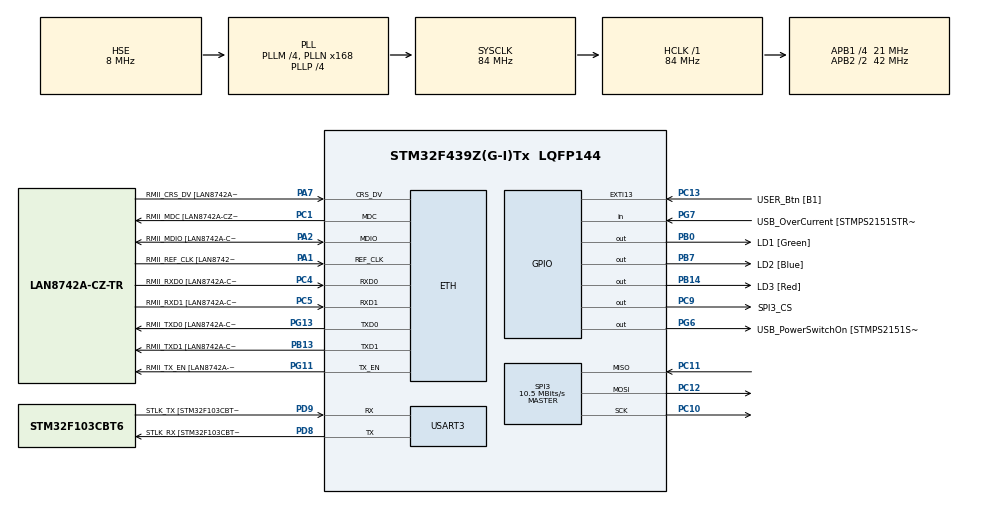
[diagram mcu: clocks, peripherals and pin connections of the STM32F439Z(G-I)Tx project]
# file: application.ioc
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ETH.MediaInterface=HAL_ETH_RMII_MODE
ETH.PHY_Name=LAN8742A_PHY_ADDRESS
ETH.PHY_Value=0
ETH.PhyAddress=0
FREERTOS.Tasks01=commTask,24,1024,startCommTask,Default,NULL,Dynamic,NULL,NULL;blueLedTask,8,128,startBlueLedTask,Default,NULL,Dynamic,NULL,NULL
LWIP.BSP.number=1
LWIP.GATEWAY_ADDRESS=192.168.000.001
LWIP.IP_ADDRESS=192.168.001.050
LWIP.LWIP_DHCP=0
LWIP.LWIP_TCP=0
LWIP.NETMASK_ADDRESS=255.255.255.000
LWIP.PBUF_POOL_BUFSIZE=1024
LWIP.TCP_WND=5120
LWIP.Version=v2.1.2_Cube
LWIP0.BSP.STBoard=false
LWIP0.BSP.api=BSP_COMPONENT_DRIVER
LWIP0.BSP.component=LAN8742
LWIP0.BSP.instance=LAN8742
LWIP0.BSP.name=Driver_PHY
LWIP0.BSP.semaphore=S_LAN8742
LWIP0.BSP.solution=LAN8742
Mcu.Family=STM32F4
Mcu.Name=STM32F439Z(G-I)Tx
Mcu.Package=LQFP144
NVIC.ETH_IRQn=true\:5\:0\:true\:false\:true\:true\:false\:true\:true
NVIC.EXTI15_10_IRQn=true\:5\:0\:false\:false\:true\:true\:true\:true\:true
NVIC.PriorityGroup=NVIC_PRIORITYGROUP_4
NVIC.TIM6_DAC_IRQn=true\:15\:0\:false\:false\:true\:false\:false\:true\:true
NVIC.TimeBase=TIM6_DAC_IRQn
NVIC.TimeBaseIP=TIM6
PA1.GPIO_Label=RMII_REF_CLK [LAN8742A-CZ-TR_REFCLK0]
PA1.Mode=RMII
PA1.Signal=ETH_REF_CLK
PA13.GPIO_Label=TMS
PA13.Mode=Serial_Wire
PA13.Signal=SYS_JTMS-SWDIO
PA14.GPIO_Label=TCK
PA14.Mode=Serial_Wire
PA14.Signal=SYS_JTCK-SWCLK
PA2.GPIO_Label=RMII_MDIO [LAN8742A-CZ-TR_MDIO]
PA2.Mode=RMII
PA2.Signal=ETH_MDIO
PA7.GPIO_Label=RMII_CRS_DV [LAN8742A-CZ-TR_CRS_DV]
PA7.Mode=RMII
PA7.Signal=ETH_CRS_DV
PB0.GPIO_Label=LD1 [Green]
PB0.Signal=GPIO_Output
PB13.GPIO_Label=RMII_TXD1 [LAN8742A-CZ-TR_TXD1]
PB13.Mode=RMII
PB13.Signal=ETH_TXD1
PB14.GPIO_Label=LD3 [Red]
PB14.Signal=GPIO_Output
PB7.GPIO_Label=LD2 [Blue]
PB7.Signal=GPIO_Output
PC1.GPIO_Label=RMII_MDC [LAN8742A-CZ-TR_MDC]
PC1.Mode=RMII
PC1.Signal=ETH_MDC
PC10.Mode=Full_Duplex_Master
PC10.Signal=SPI3_SCK
PC11.Mode=Full_Duplex_Master
PC11.Signal=SPI3_MISO
PC12.Mode=Full_Duplex_Master
PC12.Signal=SPI3_MOSI
PC13.GPIO_Label=USER_Btn [B1]
PC13.Signal=GPXTI13
PC14/OSC32_IN.Mode=LSE-External-Oscillator
PC14/OSC32_IN.Signal=RCC_OSC32_IN
PC15/OSC32_OUT.Mode=LSE-External-Oscillator
PC15/OSC32_OUT.Signal=RCC_OSC32_OUT
PC4.GPIO_Label=RMII_RXD0 [LAN8742A-CZ-TR_RXD0]
PC4.Mode=RMII
PC4.Signal=ETH_RXD0
PC5.GPIO_Label=RMII_RXD1 [LAN8742A-CZ-TR_RXD1]
PC5.Mode=RMII
PC5.Signal=ETH_RXD1
PC9.GPIO_Label=SPI3_CS
PC9.GPIO_Speed=GPIO_SPEED_FREQ_VERY_HIGH
PC9.PinState=GPIO_PIN_SET
PC9.Signal=GPIO_Output
PD8.GPIO_Label=STLK_RX [STM32F103CBT6_PA3]
PD8.Mode=Asynchronous
PD8.Signal=USART3_TX
PD9.GPIO_Label=STLK_TX [STM32F103CBT6_PA2]
PD9.Mode=Asynchronous
PD9.Signal=USART3_RX
PG11.GPIO_Label=RMII_TX_EN [LAN8742A-CZ-TR_TXEN]
PG11.Mode=RMII
PG11.Signal=ETH_TX_EN
PG13.GPIO_Label=RMII_TXD0 [LAN8742A-CZ-TR_TXD0]
PG13.Mode=RMII
PG13.Signal=ETH_TXD0
PG6.GPIO_Label=USB_PowerSwitchOn [STMPS2151STR_EN]
PG6.Signal=GPIO_Output
PG7.GPIO_Label=USB_OverCurrent [STMPS2151STR_FAULT]
PG7.Signal=GPIO_Input
PH0/OSC_IN.GPIO_Label=MCO [STM32F103CBT6_PA8]
PH0/OSC_IN.Mode=HSE-External-Clock-Source
PH0/OSC_IN.Signal=RCC_OSC_IN
PH1/OSC_OUT.Mode=HSE-External-Clock-Source
PH1/OSC_OUT.Signal=RCC_OSC_OUT
ProjectManager.HeapSize=0x200
ProjectManager.StackSize=0x400
ProjectManager.TargetToolchain=CMake
RCC.48MHZClocksFreq_Value=48000000
RCC.AHBFreq_Value=84000000
RCC.APB1CLKDivider=RCC_HCLK_DIV4
RCC.APB1Freq_Value=21000000
RCC.APB1TimFreq_Value=42000000
RCC.APB2CLKDivider=RCC_HCLK_DIV2
RCC.APB2Freq_Value=42000000
RCC.APB2TimCLKDivider=2
RCC.APB2TimFreq_Value=84000000
RCC.CortexFreq_Value=84000000
RCC.HCLKFreq_Value=84000000
RCC.HSE_VALUE=8000000
RCC.HSI_VALUE=16000000
RCC.PLLM=4
RCC.PLLMUL=RCC_PLL_MUL9
RCC.PLLN=168
RCC.PLLP=RCC_PLLP_DIV4
RCC.PLLQ=7
RCC.PLLSourceVirtual=RCC_PLLSOURCE_HSE
RCC.PRESCALERUSB=RCC_USBCLKSOURCE_PLL_DIV1_5
RCC.SYSCLKFreq_VALUE=84000000
RCC.SYSCLKSource=RCC_SYSCLKSOURCE_PLLCLK
RCC.SYSCLKSourceVirtual=RCC_SYSCLKSOURCE_PLLCLK
RCC.USBFreq_Value=48000000
RCC.VCOOutputFreq_Value=336000000
SPI3.BaudRatePrescaler=SPI_BAUDRATEPRESCALER_2
SPI3.CalculateBaudRate=10.5 MBits/s
SPI3.Direction=SPI_DIRECTION_2LINES
SPI3.Mode=SPI_MODE_MASTER
SPI3.VirtualType=VM_MASTER
USART3.VirtualMode=VM_ASYNC
VP_FREERTOS_VS_CMSIS_V2.Mode=CMSIS_V2
VP_LWIP_VS_Enabled.Mode=Enabled
VP_SYS_VS_tim6.Mode=TIM6
board=NUCLEO-F439ZI

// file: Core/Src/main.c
/* USER CODE BEGIN Header */
/**
  ******************************************************************************
  * @file           : main.c
  * @brief          : Main program body
  ******************************************************************************
  * @attention
  *
  * Copyright (c) 2025 STMicroelectronics.
  * All rights reserved.
  *
  * This software is licensed under terms that can be found in the LICENSE file
  * in the root directory of this software component.
  * If no LICENSE file comes with this software, it is provided AS-IS.
  *
  ******************************************************************************
  */
/* USER CODE END Header */
#include "main.h"
#include "cmsis_os.h"
#include "lwip.h"

/* USER CODE BEGIN Includes */
#include "server.h"
#include "niram/no_init_ram.h"
#include "driver_w25qxx.h"
#include "w25qxx_init.h"
#include "w25qxx/flash_interface.h"
/* USER CODE END Includes */

/* USER CODE BEGIN PD */
#define LED_PIN_GREEN   LD1_Pin
#define LED_PIN_BLUE    LD2_Pin
#define LED_PIN_RED     LD3_Pin
#define LED_PORT_GREEN  LD1_GPIO_Port
#define LED_PORT_BLUE   LD2_GPIO_Port
#define LED_PORT_RED    LD3_GPIO_Port
/* USER CODE END PD */

SPI_HandleTypeDef hspi3;

UART_HandleTypeDef huart3;

/* Definitions for commTask */
osThreadId_t commTaskHandle;
const osThreadAttr_t commTask_attributes = {
  .name = "commTask",
  .stack_size = 1024 * 8,
  .priority = (osPriority_t) osPriorityNormal,
};
/* Definitions for blueLedTask */
osThreadId_t blueLedTaskHandle;
const osThreadAttr_t blueLedTask_attributes = {
  .name = "blueLedTask",
  .stack_size = 128 * 4,
  .priority = (osPriority_t) osPriorityLow,
};
/* USER CODE BEGIN PV */

static uint8_t f_w25q_verify_mem[512];

/* USER CODE END PV */

void SystemClock_Config(void);
static void MX_GPIO_Init(void);
static void MX_SPI3_Init(void);
static void MX_USART3_UART_Init(void);
void startCommTask(void *argument);
void startBlueLedTask(void *argument);

/* USER CODE BEGIN 0 */
int __io_putchar(int ch)
{
  /* Place your implementation of fputc here */
  /* e.g. write a character to the USART1 and Loop until the end of transmission */
  HAL_UART_Transmit(&huart3, (uint8_t *)&ch, 1, 0xFFFF);

  return ch;
}
/* USER CODE END 0 */

int main(void)
{

  /* MCU Configuration--------------------------------------------------------*/

  /* Reset of all peripherals, Initializes the Flash interface and the Systick. */
  HAL_Init();

  /* Configure the system clock */
  SystemClock_Config();

  /* Initialize all configured peripherals */
  MX_GPIO_Init();
  MX_SPI3_Init();
  MX_USART3_UART_Init();
  /* USER CODE BEGIN 2 */
  printf("Application HAL init complete\r\n");
  /* USER CODE END 2 */

  /* Init scheduler */
  osKernelInitialize();

  /* Create the thread(s) */
  /* creation of commTask */
  commTaskHandle = osThreadNew(startCommTask, NULL, &commTask_attributes);

  /* creation of blueLedTask */
  blueLedTaskHandle = osThreadNew(startBlueLedTask, NULL, &blueLedTask_attributes);

  /* USER CODE BEGIN RTOS_THREADS */
  /* add threads, ... */
  printf("FreeRTOS threads created\r\n");
  /* USER CODE END RTOS_THREADS */

  /* Start scheduler */
  osKernelStart();

  /* We should never get here as control is now taken by the scheduler */

  /* Infinite loop */
  while (1)
  {

  }
}

void SystemClock_Config(void)
{
  RCC_OscInitTypeDef RCC_OscInitStruct = {0};
  RCC_ClkInitTypeDef RCC_ClkInitStruct = {0};

  /** Configure the main internal regulator output voltage
  */
  __HAL_RCC_PWR_CLK_ENABLE();
  __HAL_PWR_VOLTAGESCALING_CONFIG(PWR_REGULATOR_VOLTAGE_SCALE3);

  /** Initializes the RCC Oscillators according to the specified parameters
  * in the RCC_OscInitTypeDef structure.
  */
  RCC_OscInitStruct.OscillatorType = RCC_OSCILLATORTYPE_HSE;
  RCC_OscInitStruct.HSEState = RCC_HSE_BYPASS;
  RCC_OscInitStruct.PLL.PLLState = RCC_PLL_ON;
  RCC_OscInitStruct.PLL.PLLSource = RCC_PLLSOURCE_HSE;
  RCC_OscInitStruct.PLL.PLLM = 4;
  RCC_OscInitStruct.PLL.PLLN = 168;
  RCC_OscInitStruct.PLL.PLLP = RCC_PLLP_DIV4;
  RCC_OscInitStruct.PLL.PLLQ = 7;
  if (HAL_RCC_OscConfig(&RCC_OscInitStruct) != HAL_OK)
  {
    Error_Handler();
  }

  /** Initializes the CPU, AHB and APB buses clocks
  */
  RCC_ClkInitStruct.ClockType = RCC_CLOCKTYPE_HCLK|RCC_CLOCKTYPE_SYSCLK
                              |RCC_CLOCKTYPE_PCLK1|RCC_CLOCKTYPE_PCLK2;
  RCC_ClkInitStruct.SYSCLKSource = RCC_SYSCLKSOURCE_PLLCLK;
  RCC_ClkInitStruct.AHBCLKDivider = RCC_SYSCLK_DIV1;
  RCC_ClkInitStruct.APB1CLKDivider = RCC_HCLK_DIV4;
  RCC_ClkInitStruct.APB2CLKDivider = RCC_HCLK_DIV2;

  if (HAL_RCC_ClockConfig(&RCC_ClkInitStruct, FLASH_LATENCY_2) != HAL_OK)
  {
    Error_Handler();
  }
}

static void MX_SPI3_Init(void)
{

  /* SPI3 parameter configuration*/
  hspi3.Instance = SPI3;
  hspi3.Init.Mode = SPI_MODE_MASTER;
  hspi3.Init.Direction = SPI_DIRECTION_2LINES;
  hspi3.Init.DataSize = SPI_DATASIZE_8BIT;
  hspi3.Init.CLKPolarity = SPI_POLARITY_LOW;
  hspi3.Init.CLKPhase = SPI_PHASE_1EDGE;
  hspi3.Init.NSS = SPI_NSS_SOFT;
  hspi3.Init.BaudRatePrescaler = SPI_BAUDRATEPRESCALER_2;
  hspi3.Init.FirstBit = SPI_FIRSTBIT_MSB;
  hspi3.Init.TIMode = SPI_TIMODE_DISABLE;
  hspi3.Init.CRCCalculation = SPI_CRCCALCULATION_DISABLE;
  hspi3.Init.CRCPolynomial = 10;
  if (HAL_SPI_Init(&hspi3) != HAL_OK)
  {
    Error_Handler();
  }

}

static void MX_USART3_UART_Init(void)
{

  huart3.Instance = USART3;
  huart3.Init.BaudRate = 115200;
  huart3.Init.WordLength = UART_WORDLENGTH_8B;
  huart3.Init.StopBits = UART_STOPBITS_1;
  huart3.Init.Parity = UART_PARITY_NONE;
  huart3.Init.Mode = UART_MODE_TX_RX;
  huart3.Init.HwFlowCtl = UART_HWCONTROL_NONE;
  huart3.Init.OverSampling = UART_OVERSAMPLING_16;
  if (HAL_UART_Init(&huart3) != HAL_OK)
  {
    Error_Handler();
  }

}

static void MX_GPIO_Init(void)
{
  GPIO_InitTypeDef GPIO_InitStruct = {0};

  /* GPIO Ports Clock Enable */
  __HAL_RCC_GPIOC_CLK_ENABLE();
  __HAL_RCC_GPIOH_CLK_ENABLE();
  __HAL_RCC_GPIOA_CLK_ENABLE();
  __HAL_RCC_GPIOB_CLK_ENABLE();
  __HAL_RCC_GPIOD_CLK_ENABLE();
  __HAL_RCC_GPIOG_CLK_ENABLE();

  /*Configure GPIO pin Output Level */
  HAL_GPIO_WritePin(GPIOB, LD1_Pin|LD3_Pin|LD2_Pin, GPIO_PIN_RESET);

  /*Configure GPIO pin Output Level */
  HAL_GPIO_WritePin(USB_PowerSwitchOn_GPIO_Port, USB_PowerSwitchOn_Pin, GPIO_PIN_RESET);

  /*Configure GPIO pin Output Level */
  HAL_GPIO_WritePin(SPI3_CS_GPIO_Port, SPI3_CS_Pin, GPIO_PIN_SET);

  /*Configure GPIO pin : USER_Btn_Pin */
  GPIO_InitStruct.Pin = USER_Btn_Pin;
  GPIO_InitStruct.Mode = GPIO_MODE_IT_RISING;
  GPIO_InitStruct.Pull = GPIO_NOPULL;
  HAL_GPIO_Init(USER_Btn_GPIO_Port, &GPIO_InitStruct);

  /*Configure GPIO pins : LD1_Pin LD3_Pin LD2_Pin */
  GPIO_InitStruct.Pin = LD1_Pin|LD3_Pin|LD2_Pin;
  GPIO_InitStruct.Mode = GPIO_MODE_OUTPUT_PP;
  GPIO_InitStruct.Pull = GPIO_NOPULL;
  GPIO_InitStruct.Speed = GPIO_SPEED_FREQ_LOW;
  HAL_GPIO_Init(GPIOB, &GPIO_InitStruct);

  /*Configure GPIO pin : USB_PowerSwitchOn_Pin */
  GPIO_InitStruct.Pin = USB_PowerSwitchOn_Pin;
  GPIO_InitStruct.Mode = GPIO_MODE_OUTPUT_PP;
  GPIO_InitStruct.Pull = GPIO_NOPULL;
  GPIO_InitStruct.Speed = GPIO_SPEED_FREQ_LOW;
  HAL_GPIO_Init(USB_PowerSwitchOn_GPIO_Port, &GPIO_InitStruct);

  /*Configure GPIO pin : USB_OverCurrent_Pin */
  GPIO_InitStruct.Pin = USB_OverCurrent_Pin;
  GPIO_InitStruct.Mode = GPIO_MODE_INPUT;
  GPIO_InitStruct.Pull = GPIO_NOPULL;
  HAL_GPIO_Init(USB_OverCurrent_GPIO_Port, &GPIO_InitStruct);

  /*Configure GPIO pin : SPI3_CS_Pin */
  GPIO_InitStruct.Pin = SPI3_CS_Pin;
  GPIO_InitStruct.Mode = GPIO_MODE_OUTPUT_PP;
  GPIO_InitStruct.Pull = GPIO_NOPULL;
  GPIO_InitStruct.Speed = GPIO_SPEED_FREQ_VERY_HIGH;
  HAL_GPIO_Init(SPI3_CS_GPIO_Port, &GPIO_InitStruct);

  /* EXTI interrupt init*/
  HAL_NVIC_SetPriority(EXTI15_10_IRQn, 5, 0);
  HAL_NVIC_EnableIRQ(EXTI15_10_IRQn);

}

/* USER CODE BEGIN 4 */

void SERVER_NotifyCallback(void)
{
  HAL_GPIO_TogglePin(LED_PORT_GREEN, LED_PIN_GREEN);
}

/* USER CODE END 4 */

void startCommTask(void *argument)
{
  /* init code for LWIP */
  MX_LWIP_Init();
  /* USER CODE BEGIN 5 */

  //Code to cause a fault interrupt!
  //printf("CommTask created\r\n");
  //osDelay(10);
  //int* argInt = (int*)0x12345678U;
  //printf("My arg is %08x\r\n", *argInt);

  (void)argument;
  w25qxx_handle_t* hnd = W25Q128_Init(&hspi3, SPI3_CS_GPIO_Port, SPI3_CS_Pin);

  if (hnd == NULL)
  {
    printf("W25Q128_Init failed!\r\n");
  }
  else
  {
    if (W25Qxx_INTERFACE_Init(hnd, f_w25q_verify_mem, sizeof(f_w25q_verify_mem)))
    {
      printf("W25Q128_Init OK!\r\n");
    }
    else
    {
      printf("W25Qxx_INTERFACE_Init failed\r\n");
    }
  }

  SERVER_UdpUpdateServer(hnd);
  osThreadExit();
  /* USER CODE END 5 */
}

void startBlueLedTask(void *argument)
{
  /* USER CODE BEGIN startBlueLedTask */
  (void)argument;

  uint32_t counter = 0;

  /* Infinite loop */
  for(;;)
  {
    HAL_GPIO_TogglePin(LED_PORT_BLUE, LED_PIN_BLUE);
    osDelay(1000);

    if (counter == 3)
    {
      NO_INIT_RAM_SetMember(&NO_INIT_RAM_content.resetCount, 0U);
    }
    else
    {
      counter++;
    }
  }
  /* USER CODE END startBlueLedTask */
}

void HAL_TIM_PeriodElapsedCallback(TIM_HandleTypeDef *htim)
{
  if (htim->Instance == TIM6)
  {
    HAL_IncTick();
  }
}

void Error_Handler(void)
{
  __disable_irq();
  while (1)
  {
  }
}
